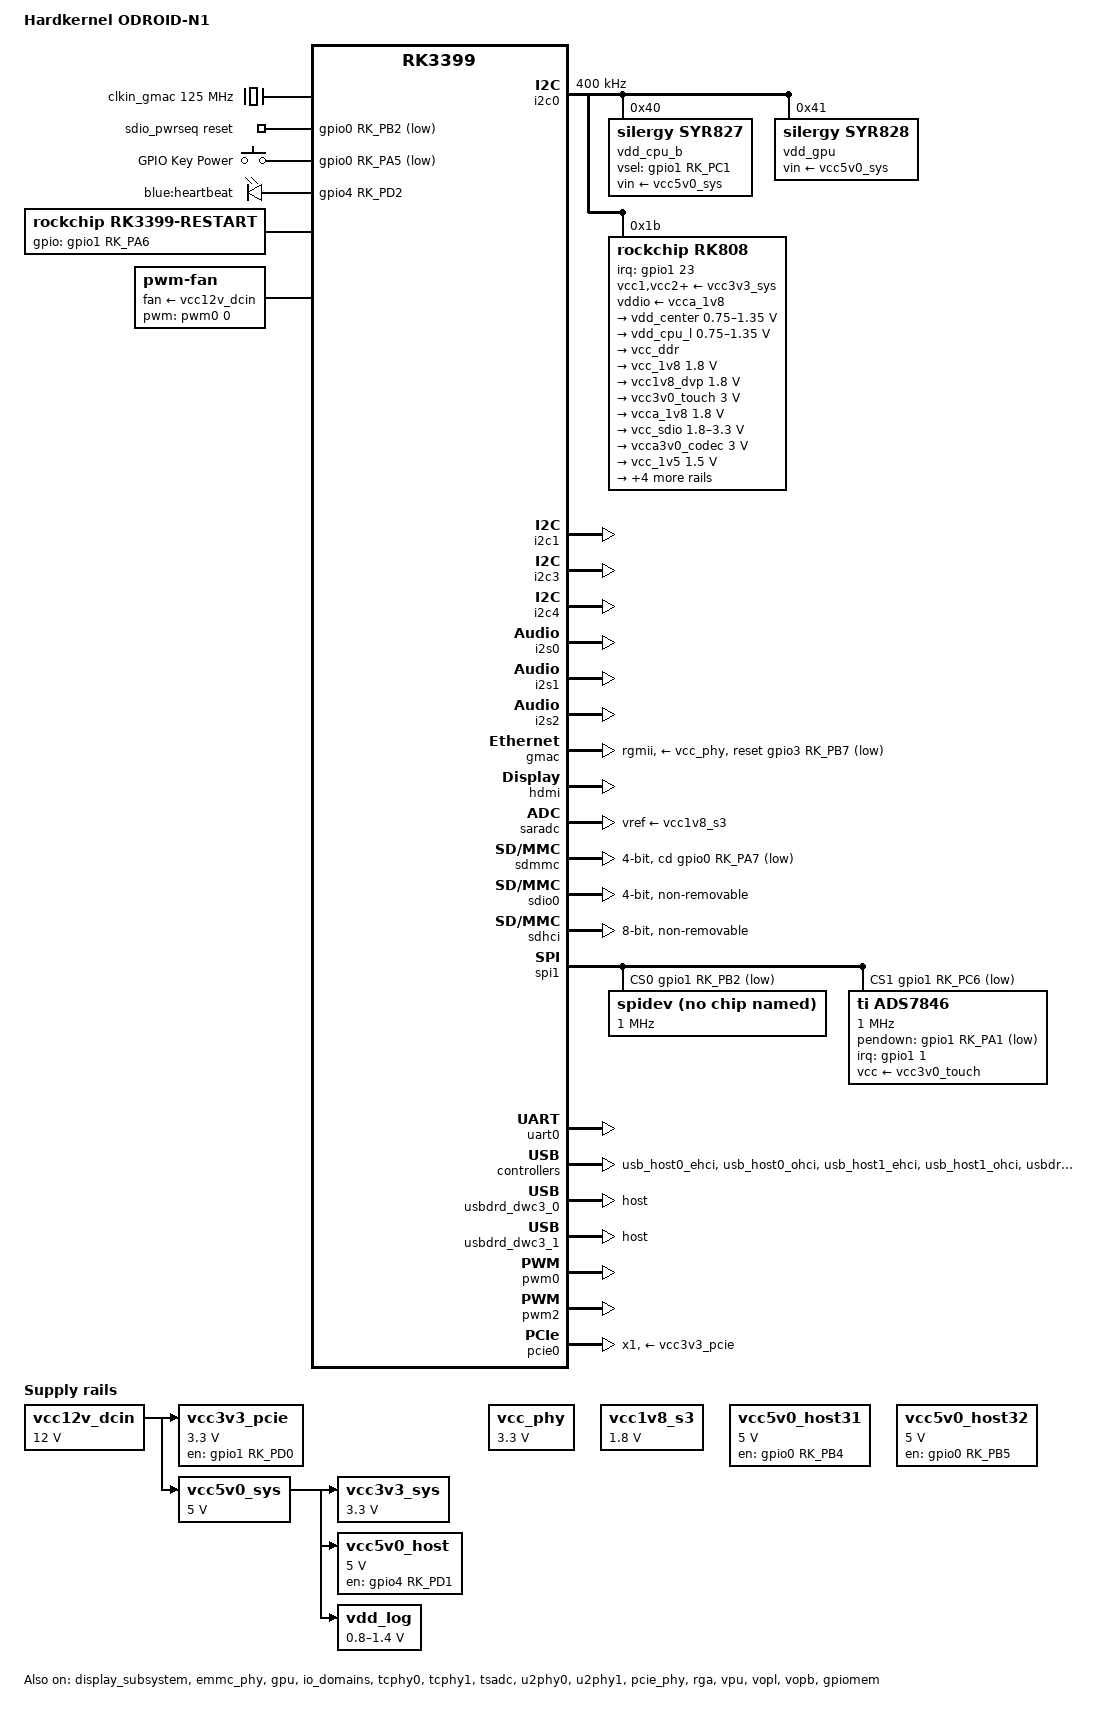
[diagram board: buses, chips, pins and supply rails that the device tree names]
/*
 * Copyright (c) 2017 Hardkernel Co., Ltd
 *
 * This file is dual-licensed: you can use it either under the terms
 * of the GPL or the X11 license, at your option. Note that this dual
 * licensing only applies to this file, and not this project as a
 * whole.
 *
 *  a) This file is free software; you can redistribute it and/or
 *     modify it under the terms of the GNU General Public License as
 *     published by the Free Software Foundation; either version 2 of the
 *     License, or (at your option) any later version.
 *
 *     This file is distributed in the hope that it will be useful,
 *     but WITHOUT ANY WARRANTY; without even the implied warranty of
 *     MERCHANTABILITY or FITNESS FOR A PARTICULAR PURPOSE.  See the
 *     GNU General Public License for more details.
 *
 * Or, alternatively,
 *
 *  b) Permission is hereby granted, free of charge, to any person
 *     obtaining a copy of this software and associated documentation
 *     files (the "Software"), to deal in the Software without
 *     restriction, including without limitation the rights to use,
 *     copy, modify, merge, publish, distribute, sublicense, and/or
 *     sell copies of the Software, and to permit persons to whom the
 *     Software is furnished to do so, subject to the following
 *     conditions:
 *
 *     The above copyright notice and this permission notice shall be
 *     included in all copies or substantial portions of the Software.
 *
 *     THE SOFTWARE IS PROVIDED "AS IS", WITHOUT WARRANTY OF ANY KIND,
 *     EXPRESS OR IMPLIED, INCLUDING BUT NOT LIMITED TO THE WARRANTIES
 *     OF MERCHANTABILITY, FITNESS FOR A PARTICULAR PURPOSE AND
 *     NONINFRINGEMENT. IN NO EVENT SHALL THE AUTHORS OR COPYRIGHT
 *     HOLDERS BE LIABLE FOR ANY CLAIM, DAMAGES OR OTHER LIABILITY,
 *     WHETHER IN AN ACTION OF CONTRACT, TORT OR OTHERWISE, ARISING
 *     FROM, OUT OF OR IN CONNECTION WITH THE SOFTWARE OR THE USE OR
 *     OTHER DEALINGS IN THE SOFTWARE.
 */

/dts-v1/;
#include <dt-bindings/input/linux-event-codes.h>
#include <dt-bindings/pwm/pwm.h>

#include "rk3399.dtsi"
#include "rk3399-opp.dtsi"

/ {
	model = "Hardkernel ODROID-N1";
	compatible = "hardkernel,odroidn1-linux", "rockchip,rk3399";

	chosen {
		// disable USB autosuspend as this solves USB stability issues
		bootargs = "earlycon=uart8250,mmio32,0xff1a0000 swiotlb=1 no_console_suspend=1 usbcore.autosuspend=-1 coherent_pool=1m";
		stdout-path = "serial2:1500000n8";
	};

	cpuinfo {
		compatible = "rockchip,cpuinfo";
		nvmem-cells = <&cpu_id>;
		nvmem-cell-names = "id";
	};

	reserved-memory {
		#address-cells = <2>;
		#size-cells = <2>;
		ranges;

		drm_logo: drm-logo@00000000 {
			compatible = "rockchip,drm-logo";
			reg = <0x0 0x0 0x0 0x0>;
		};
	};

	ion {
		compatible = "rockchip,ion";
		#address-cells = <1>;
		#size-cells = <0>;

		cma-heap {
			reg = <0x00000000 0x02000000>;
		};

		system-heap {
		};
	};

	aliases {
		ethernet0 = &gmac;
	};

	vcc12v_dcin: vcc12v-dcin {
		compatible = "regulator-fixed";
		regulator-name = "vcc12v_dcin";
		regulator-always-on;
		regulator-boot-on;
		regulator-min-microvolt = <12000000>;
		regulator-max-microvolt = <12000000>;
	};

	vcc3v3_pcie: vcc3v3-pcie-regulator {
		compatible = "regulator-fixed";
		regulator-min-microvolt = <3300000>;
		regulator-max-microvolt = <3300000>;
		enable-active-high;
		gpio = <&gpio1 RK_PD0 GPIO_ACTIVE_HIGH>;
		pinctrl-names = "default";
		pinctrl-0 = <&pcie_pwr_en>;
		regulator-name = "vcc3v3_pcie";
		vin-supply = <&vcc12v_dcin>;
	};

	vcc5v0_sys: vcc5v0-sys {
		compatible = "regulator-fixed";
		regulator-name = "vcc5v0_sys";
		regulator-min-microvolt = <5000000>;
		regulator-max-microvolt = <5000000>;
		regulator-always-on;
		regulator-boot-on;
		vin-supply = <&vcc12v_dcin>;
	};

	vcc_phy: vcc-phy-regulator {
		compatible = "regulator-fixed";
		regulator-name = "vcc_phy";
		regulator-min-microvolt = <3300000>;
		regulator-max-microvolt = <3300000>;
		regulator-always-on;
		regulator-boot-on;
	};

	vcc1v8_s3: vccadc-ref {
		compatible = "regulator-fixed";
		regulator-name = "vcc1v8_s3";
		regulator-always-on;
		regulator-boot-on;
		regulator-min-microvolt = <1800000>;
		regulator-max-microvolt = <1800000>;
	};

	vcc3v3_sys: vcc3v3-sys {
		compatible = "regulator-fixed";
		regulator-name = "vcc3v3_sys";
		regulator-min-microvolt = <3300000>;
		regulator-max-microvolt = <3300000>;
		regulator-always-on;
		regulator-boot-on;
		vin-supply = <&vcc5v0_sys>;
	};

	vcc5v0_host: vcc5v0-host-regulator {
		compatible = "regulator-fixed";
		enable-active-high;
		gpio = <&gpio4 RK_PD1 GPIO_ACTIVE_HIGH>;
		pinctrl-names = "default";
		pinctrl-0 = <&host_vbus_drv>;
		regulator-name = "vcc5v0_host";
		regulator-min-microvolt = <5000000>;
		regulator-max-microvolt = <5000000>;
		regulator-always-on;
		vin-supply = <&vcc5v0_sys>;
	};

	vcc5v0_host31: vcc5v0-host31-regulator {
		compatible = "regulator-fixed";
		enable-active-high;
		gpio = <&gpio0 RK_PB4 GPIO_ACTIVE_HIGH>;
		pinctrl-names = "default";
		pinctrl-0 = <&host31_vbus_drv>;
		regulator-name = "vcc5v0_host31";
		regulator-min-microvolt = <5000000>;
		regulator-max-microvolt = <5000000>;
	};

	vcc5v0_host32: vcc5v0-host32-regulator {
		compatible = "regulator-fixed";
		enable-active-high;
		gpio = <&gpio0 RK_PB5 GPIO_ACTIVE_HIGH>;
		pinctrl-names = "default";
		pinctrl-0 = <&host32_vbus_drv>;
		regulator-name = "vcc5v0_host32";
		regulator-min-microvolt = <5000000>;
		regulator-max-microvolt = <5000000>;
	};

	vdd_log: vdd-log {
		compatible = "pwm-regulator";
		pwms = <&pwm2 0 25000 1>;
		regulator-name = "vdd_log";
		regulator-min-microvolt = <800000>;
		regulator-max-microvolt = <1400000>;
		regulator-always-on;
		regulator-boot-on;

		/* for rockchip boot on */
		rockchip,pwm_id= <2>;
		rockchip,pwm_voltage = <900000>;

		pwm-supply = <&vcc5v0_sys>;
	};

	clkin_gmac: external-gmac-clock {
		compatible = "fixed-clock";
		clock-frequency = <125000000>;
		clock-output-names = "clkin_gmac";
		#clock-cells = <0>;
	};

	sdio_pwrseq: sdio-pwrseq {
		compatible = "mmc-pwrseq-simple";
		clocks = <&rk808 1>;
		clock-names = "ext_clock";
		pinctrl-names = "default";
		pinctrl-0 = <&wifi_enable_h>;

		/*
		 * On the module itself this is one of these (depending
		 * on the actual card populated):
		 * - SDIO_RESET_L_WL_REG_ON
		 * - PDN (power down when low)
		 */
		reset-gpios = <&gpio0 RK_PB2 GPIO_ACTIVE_LOW>;
	};

	gpio-keys {
		compatible = "gpio-keys";
		#address-cells = <1>;
		#size-cells = <0>;
		autorepeat;

		pinctrl-names = "default";
		pinctrl-0 = <&pwrbtn>;

		button@0 {
			gpios = <&gpio0 RK_PA5 GPIO_ACTIVE_LOW>;
			linux,code = <KEY_POWER>;
			label = "GPIO Key Power";
			linux,input-type = <1>;
			gpio-key,wakeup = <1>;
			debounce-interval = <100>;
		};
	};

	leds: gpio_leds {
		compatible = "gpio-leds";
		pinctrl-names = "default";
		pinctrl-0 = <&heartbeat_led_gpio>;

                heartbeat-led {
                        label = "blue:heartbeat";
                        gpios = <&gpio4 RK_PD2 GPIO_ACTIVE_HIGH>;
                        linux,default-trigger = "heartbeat";
                };
	};

	rk3399-restart {
		compatible = "rockchip,rk3399-restart";
		gpios = <&gpio1 RK_PA6 GPIO_ACTIVE_HIGH>;
		open-source;
	};

	fan: pwm-fan {
		compatible = "pwm-fan";
		status = "okay";
		fan-supply = <&vcc12v_dcin>;
		pwms = <&pwm0 0 40000 0>; /* 25 kHz */
		cooling-min-state = <0>;
		cooling-max-state = <3>;
		#cooling-cells = <2>;
		cooling-levels = <0 150 195 240>;
	};

	dw_hdmi_audio: dw-hdmi-audio {
		status = "disabled";
		compatible = "rockchip,dw-hdmi-audio";
		#sound-dai-cells = <0>;
	};

	hdmi_codec: hdmi-codec {
		compatible = "simple-audio-card";
		simple-audio-card,format = "i2s";
		simple-audio-card,mclk-fs = <256>;
		simple-audio-card,name = "HDMI-CODEC";

		simple-audio-card,cpu {
			sound-dai = <&i2s2>;
		};

		simple-audio-card,codec {
			sound-dai = <&hdmi>;
		};
	};

	hdmi_sound: hdmi-sound {
		status = "disabled";
		compatible = "simple-audio-card";
		simple-audio-card,format = "i2s";
		simple-audio-card,mclk-fs = <256>;
		simple-audio-card,name = "rockchip,hdmi";

		simple-audio-card,cpu {
			sound-dai = <&i2s2>;
		};
		simple-audio-card,codec {
			sound-dai = <&dw_hdmi_audio>;
		};
	};

	fiq_debugger: fiq-debugger {
		compatible = "rockchip,fiq-debugger";
		rockchip,serial-id = <2>;
		rockchip,signal-irq = <182>;
		rockchip,wake-irq = <0>;
		rockchip,irq-mode-enable = <1>;  /* If enable uart uses irq instead of fiq */
		rockchip,baudrate = <115200>;  /* Only 115200 and 1500000 */
		pinctrl-names = "default";
		pinctrl-0 = <&uart2c_xfer>;
	};

	gpiomem {
		compatible = "rockchip,rock-gpiomem";

		/* gpio mmap area define */
			/* GPIO0 64K    : 0xff720000 - 0xff72ffff */
			/* GPIO1 64K    : 0xff730000 - 0xff73ffff */
			/* Reserved 64K : 0xff740000 - 0xff74ffff */
			/* PMUCRU 64K   : 0xff750000 - 0xff75ffff */
			/* CRU 64K      : 0xff760000 - 0xff76ffff */
			/* GRF 64K      : 0xff770000 - 0xff77ffff */
			/* GPIO2 32K    : 0xff780000 - 0xff777fff */
			/* GPIO3 32K    : 0xff788000 - 0xff78ffff */
			/* GPIO4 32K    : 0xff790000 - 0xff797fff */
		reg = 	<0 0xff720000 0 0x78000>,

			/* PMUGRF 64K   : 0xff320000 - 0xff32ffff */
			<0 0xff320000 0 0x10000>;
		status = "okay";
	};

	odroid_sysfs: odroid-sysfs {
		status = "okay";
		compatible = "odroid-sysfs";
	};

};

&thermal_zones {
    /delete-node/ cpu;

    soc_thermal: soc-thermal {
	polling-delay-passive = <20>; /* milliseconds */
	polling-delay = <1000>; /* milliseconds */
	sustainable-power = <1000>; /* milliwatts */

	thermal-sensors = <&tsadc 0>;

	trips {
		/* fan active thermal point */
		cpu_alert0: trip-point-0 {
			temperature = <55000>; /* millicelsius */
			hysteresis = <2000>; /* millicelsius */
			type = "active";
		};
		cpu_alert1: trip-point-1 {
			temperature = <65000>; /* millicelsius */
			hysteresis = <2000>; /* millicelsius */
			type = "active";
		};
		cpu_alert2: trip-point-2 {
			temperature = <75000>; /* millicelsius */
			hysteresis = <2000>; /* millicelsius */
			type = "active";
		};

		/* big cluster thermal point */
		cpu_alert3: trip-point-3 {
			temperature = <80000>; /* millicelsius */
			hysteresis = <2000>; /* millicelsius */
			type = "passive";
		};
		cpu_alert4: trip-point-4 {
			temperature = <82000>; /* millicelsius */
			hysteresis = <2000>; /* millicelsius */
			type = "passive";
		};
		cpu_alert5: trip-point-5 {
			temperature = <85000>; /* millicelsius */
			hysteresis = <2000>; /* millicelsius */
			type = "passive";
		};
		cpu_alert6: trip-point-6 {
			temperature = <88000>; /* millicelsius */
			hysteresis = <2000>; /* millicelsius */
			type = "passive";
		};

		/* little cluster thermal point */
		cpu_alert7: trip-point-7 {
			temperature = <90000>; /* millicelsius */
			hysteresis = <2000>; /* millicelsius */
			type = "passive";
		};
		cpu_alert8: trip-point-8 {
			temperature = <92000>; /* millicelsius */
			hysteresis = <2000>; /* millicelsius */
			type = "passive";
		};
		cpu_alert9: trip-point-9 {
			temperature = <95000>; /* millicelsius */
			hysteresis = <2000>; /* millicelsius */
			type = "passive";
		};
		soc_crit: soc-crit {
			temperature = <120000>; /* millicelsius */
			hysteresis = <2000>; /* millicelsius */
			type = "critical";
		};
	};

	cooling-maps {
		/* fan cooling map */
		map0 {
			trip = <&cpu_alert0>;
			cooling-device =
				<&fan 0 1>;
		};
		map1 {
			trip = <&cpu_alert1>;
			cooling-device =
				<&fan 1 2>;
		};
		map2 {
			trip = <&cpu_alert2>;
			cooling-device =
				<&fan 2 3>;
		};

		/* cpu cooling map */
		/* big cluster */
		map3 {
			trip = <&cpu_alert3>;
			cooling-device =
				<&cpu_b0 0 2>;
			contribution = <4096>;
		};
		map4 {
			trip = <&cpu_alert4>;
			cooling-device =
				<&cpu_b0 2 4>;
			contribution = <4096>;
		};
		map5 {
			trip = <&cpu_alert5>;
			cooling-device =
				<&cpu_b0 4 7>;
			contribution = <4096>;
		};
		map6 {
			trip = <&cpu_alert6>;
			cooling-device =
				<&cpu_b0 4 7>;
			contribution = <4096>;
		};

		/* little cluster */
		map7 {
			trip = <&cpu_alert7>;
			cooling-device =
				<&cpu_l0 0 2>;
			contribution = <1024>;
		};
		map8 {
			trip = <&cpu_alert8>;
			cooling-device =
				<&cpu_l0 2 5>;
			contribution = <1024>;
		};

		map9 {
			trip = <&cpu_alert9>;
			cooling-device =
				<&gpu THERMAL_NO_LIMIT THERMAL_NO_LIMIT>;
			contribution = <1024>;
		};
	};
    };
};

&cpu_l0 {
	cpu-supply = <&vdd_cpu_l>;
};

&cpu_l1 {
	cpu-supply = <&vdd_cpu_l>;
};

&cpu_l2 {
	cpu-supply = <&vdd_cpu_l>;
};

&cpu_l3 {
	cpu-supply = <&vdd_cpu_l>;
};

&cpu_b0 {
	cpu-supply = <&vdd_cpu_b>;
};

&cpu_b1 {
	cpu-supply = <&vdd_cpu_b>;
};

&display_subsystem {
	status = "okay";

	ports = <&vopb_out>;
	logo-memory-region = <&drm_logo>;

	route {
		route_hdmi: route-hdmi {
			status = "disabled";
			logo,uboot = "logo.bmp";
			logo,kernel = "logo_kernel.bmp";
			logo,mode = "center";
			charge_logo,mode = "center";
			connect = <&vopb_out_hdmi>;
		};

		route_dsi: route-dsi {
			status = "disabled";
			logo,uboot = "logo.bmp";
			logo,kernel = "logo_kernel.bmp";
			logo,mode = "center";
			charge_logo,mode = "center";
			connect = <&vopl_out_mipi>;
		};

		route_edp: route-edp {
			status = "disabled";
			logo,uboot = "logo.bmp";
			logo,kernel = "logo_kernel.bmp";
			logo,mode = "center";
			charge_logo,mode = "center";
			connect = <&vopl_out_edp>;
		};
	};
};

&dp_in_vopl {
       status = "disabled";
};

&emmc_phy {
	status = "okay";
};

&iep_mmu {
	status = "okay";
};

&i2c0 {
	status = "okay";
	i2c-scl-rising-time-ns = <168>;
	i2c-scl-falling-time-ns = <4>;
	clock-frequency = <400000>;

	vdd_cpu_b: syr827@40 {
		compatible = "silergy,syr827";
		reg = <0x40>;
		regulator-compatible = "fan53555-reg";
		vsel-gpios = <&gpio1 RK_PC1 GPIO_ACTIVE_HIGH>;
		regulator-name = "vdd_cpu_b";
		regulator-min-microvolt = <712500>;
		regulator-max-microvolt = <1500000>;
		regulator-ramp-delay = <40000>;
		fcs,suspend-voltage-selector = <1>;
		regulator-always-on;
		regulator-boot-on;
		regulator-initial-state = <3>;
		vin-supply = <&vcc5v0_sys>;
		regulator-state-mem {
			regulator-off-in-suspend;
		};
	};

	vdd_gpu: syr828@41 {
		compatible = "silergy,syr828";
		reg = <0x41>;
		regulator-compatible = "fan53555-reg";
		regulator-name = "vdd_gpu";
		regulator-min-microvolt = <712500>;
		regulator-max-microvolt = <1500000>;
		regulator-ramp-delay = <1000>;
		fcs,suspend-voltage-selector = <1>;
		regulator-always-on;
		regulator-boot-on;
		regulator-initial-state = <3>;
		vin-supply = <&vcc5v0_sys>;
		regulator-state-mem {
			regulator-off-in-suspend;
		};
	};

	rk808: pmic@1b {
		compatible = "rockchip,rk808";
		reg = <0x1b>;
		interrupt-parent = <&gpio1>;
		interrupts = <23 IRQ_TYPE_LEVEL_LOW>;
		pinctrl-names = "default";
		pinctrl-0 = <&pmic_int_l &pmic_dvs2>;
		rockchip,system-power-controller;
		wakeup-source;
		#clock-cells = <1>;
		clock-output-names = "xin32k", "rk808-clkout2";

		vcc1-supply = <&vcc3v3_sys>;
		vcc2-supply = <&vcc3v3_sys>;
		vcc3-supply = <&vcc3v3_sys>;
		vcc4-supply = <&vcc3v3_sys>;
		vcc6-supply = <&vcc3v3_sys>;
		vcc7-supply = <&vcc3v3_sys>;
		vcc8-supply = <&vcc3v3_sys>;
		vcc9-supply = <&vcc3v3_sys>;
		vcc10-supply = <&vcc3v3_sys>;
		vcc11-supply = <&vcc3v3_sys>;
		vcc12-supply = <&vcc3v3_sys>;
		vddio-supply = <&vcca_1v8>;

		rtc {
			status = "okay";
		};

		regulators {
			vdd_center: DCDC_REG1 {
				regulator-name = "vdd_center";
				regulator-min-microvolt = <750000>;
				regulator-max-microvolt = <1350000>;
				regulator-ramp-delay = <6001>;
				regulator-always-on;
				regulator-boot-on;
				regulator-state-mem {
					regulator-off-in-suspend;
				};
			};

			vdd_cpu_l: DCDC_REG2 {
				regulator-name = "vdd_cpu_l";
				regulator-min-microvolt = <750000>;
				regulator-max-microvolt = <1350000>;
				regulator-ramp-delay = <6001>;
				regulator-always-on;
				regulator-boot-on;
				regulator-state-mem {
					regulator-off-in-suspend;
				};
			};

			vcc_ddr: DCDC_REG3 {
				regulator-name = "vcc_ddr";
				regulator-always-on;
				regulator-boot-on;
				regulator-state-mem {
					regulator-on-in-suspend;
				};
			};

			vcc_1v8: DCDC_REG4 {
				regulator-name = "vcc_1v8";
				regulator-min-microvolt = <1800000>;
				regulator-max-microvolt = <1800000>;
				regulator-always-on;
				regulator-boot-on;
				regulator-state-mem {
					regulator-on-in-suspend;
					regulator-suspend-microvolt = <1800000>;
				};
			};

			vcc1v8_dvp: LDO_REG1 {
				regulator-name = "vcc1v8_dvp";
				regulator-min-microvolt = <1800000>;
				regulator-max-microvolt = <1800000>;
				regulator-always-on;
				regulator-boot-on;
				regulator-state-mem {
					regulator-off-in-suspend;
				};
			};

			vcc3v0_touch: LDO_REG2 {
				regulator-name = "vcc3v0_touch";
				regulator-min-microvolt = <3000000>;
				regulator-max-microvolt = <3000000>;
				regulator-always-on;
				regulator-boot-on;
				regulator-state-mem {
					regulator-off-in-suspend;
				};
			};

			vcca_1v8: LDO_REG3 {
				regulator-name = "vcca_1v8";
				regulator-min-microvolt = <1800000>;
				regulator-max-microvolt = <1800000>;
				regulator-always-on;
				regulator-boot-on;
				regulator-state-mem {
					regulator-on-in-suspend;
					regulator-suspend-microvolt = <1800000>;
				};
			};

			vcc_sdio: LDO_REG4 {
				regulator-name = "vcc_sdio";
				regulator-min-microvolt = <1800000>;
				regulator-max-microvolt = <3300000>;
				regulator-always-on;
				regulator-boot-on;
				regulator-state-mem {
					regulator-on-in-suspend;
					regulator-suspend-microvolt = <3300000>;
				};
			};

			vcca3v0_codec: LDO_REG5 {
				regulator-name = "vcca3v0_codec";
				regulator-min-microvolt = <3000000>;
				regulator-max-microvolt = <3000000>;
				regulator-always-on;
				regulator-boot-on;
				regulator-state-mem {
					regulator-off-in-suspend;
				};
			};

			vcc_1v5: LDO_REG6 {
				regulator-name = "vcc_1v5";
				regulator-min-microvolt = <1500000>;
				regulator-max-microvolt = <1500000>;
				regulator-always-on;
				regulator-boot-on;
				regulator-state-mem {
					regulator-on-in-suspend;
					regulator-suspend-microvolt = <1500000>;
				};
			};

			vcca1v8_codec: LDO_REG7 {
				regulator-name = "vcca1v8_codec";
				regulator-min-microvolt = <1800000>;
				regulator-max-microvolt = <1800000>;
				regulator-always-on;
				regulator-boot-on;
				regulator-state-mem {
					regulator-off-in-suspend;
				};
			};

			vcc_3v0: LDO_REG8 {
				regulator-name = "vcc_3v0";
				regulator-min-microvolt = <3000000>;
				regulator-max-microvolt = <3000000>;
				regulator-always-on;
				regulator-boot-on;
				regulator-state-mem {
					regulator-on-in-suspend;
					regulator-suspend-microvolt = <3000000>;
				};
			};

			vcc3v3_s3: SWITCH_REG1 {
				regulator-name = "vcc3v3_s3";
				regulator-always-on;
				regulator-boot-on;
				regulator-state-mem {
					regulator-off-in-suspend;
				};
			};

			vcc3v3_s0: SWITCH_REG2 {
				regulator-name = "vcc3v3_s0";
				regulator-always-on;
				regulator-boot-on;
				regulator-state-mem {
					regulator-off-in-suspend;
				};
			};
		};
	};
};

&i2c1 {
	status = "okay";
	i2c-scl-rising-time-ns = <300>;
	i2c-scl-falling-time-ns = <15>;
};

&i2c3 {
	i2c-scl-rising-time-ns = <450>;
	i2c-scl-falling-time-ns = <15>;
	status = "okay";
};

&i2c4 {
	status = "okay";
	i2c-scl-rising-time-ns = <600>;
	i2c-scl-falling-time-ns = <20>;
};

&i2s0 {
	status = "okay";
	rockchip,i2s-broken-burst-len;
	rockchip,playback-channels = <8>;
	rockchip,capture-channels = <8>;
	#sound-dai-cells = <0>;
};

&i2s1 {
	status = "okay";
	rockchip,i2s-broken-burst-len;
	rockchip,playback-channels = <2>;
	rockchip,capture-channels = <2>;
	#sound-dai-cells = <0>;
};

&i2s2 {
	#sound-dai-cells = <0>;
	status = "okay";
};

&gmac {
	phy-supply = <&vcc_phy>;
	phy-mode = "rgmii";
	clock_in_out = "input";
	snps,reset-gpio = <&gpio3 RK_PB7 GPIO_ACTIVE_LOW>;
	snps,reset-active-low;
	snps,reset-delays-us = <0 10000 50000>;
	assigned-clocks = <&cru SCLK_RMII_SRC>;
	assigned-clock-parents = <&clkin_gmac>;
	pinctrl-names = "default";
	pinctrl-0 = <&rgmii_pins>;
	tx_delay = <0x28>;
	rx_delay = <0x11>;
	hardkernel,mac-rule;
	status = "okay";
};

&gpu {
	status = "okay";
	mali-supply = <&vdd_gpu>;
	compatible = "arm,mali-midgard";
	interrupt-names = "GPU", "JOB", "MMU";
	clock-names = "clk_mali";
	power-off-delay-ms = <200>;
};

&gpu_power_model {
	// for DDK r14.
	voltage = <900>;
	frequency = <500>;
	static-power = <300>;
	dynamic-power = <396>;
};

&hdmi {
	#address-cells = <1>;
	#size-cells = <0>;
	#sound-dai-cells = <0>;
	status = "okay";
	rockchip,phy-table =
		<74250000 0x8009 0x0004 0x0272>,
		<165000000 0x802b 0x0004 0x0209>,
		<297000000 0x8039 0x0005 0x028d>,
		<594000000 0x8039 0x0000 0x019d>,
		<000000000 0x0000 0x0000 0x0000>;

	ddc-i2c-bus = <&i2c3>;
	pinctrl-names = "default";
	pinctrl-0 = <&hdmi_cec>;
};

&io_domains {
	status = "okay";

	bt656-supply = <&vcc1v8_dvp>;		/* bt656_gpio2ab_ms */
	audio-supply = <&vcca1v8_codec>;	/* audio_gpio3d4a_ms */
	sdmmc-supply = <&vcc_sdio>;		/* sdmmc_gpio4b_ms */
	gpio1830-supply = <&vcc_3v0>;		/* gpio1833_gpio4cd_ms */
};

&saradc {
	status = "okay";
	vref-supply = <&vcc1v8_s3>;
};

&sdmmc {
	max-frequency = <150000000>;
	supports-sd;
	bus-width = <4>;
	supports-highspeed;
	cap-sd-highspeed;
	cd-gpios = <&gpio0 RK_PA7 GPIO_ACTIVE_LOW>;
	mmc-ddr-1_8v;
	sd-uhs-sdr104;
	disable-wp;
	num-slots = <1>;
	vqmmc-supply = <&vcc_sdio>;
	pinctrl-names = "default";
	pinctrl-0 = <&sdmmc_clk &sdmmc_cmd &sdmmc_bus4>;
	status = "okay";
};

&sdio0 {
	clock-frequency = <50000000>;
	clock-freq-min-max = <200000 50000000>;
	supports-sdio;
	bus-width = <4>;
	disable-wp;
	cap-sd-highspeed;
	cap-sdio-irq;
	keep-power-in-suspend;
	mmc-pwrseq = <&sdio_pwrseq>;
	non-removable;
	num-slots = <1>;
	pinctrl-names = "default";
	pinctrl-0 = <&sdio0_bus4 &sdio0_cmd &sdio0_clk>;
	sd-uhs-sdr104;
	status = "okay";
	defer_pcie = <2000>;
};

&sdhci {
	bus-width = <8>;
	keep-power-in-suspend;
	mmc-hs400-1_8v;
	mmc-hs400-enhanced-strobe;
	non-removable;
	status = "okay";
	supports-emmc;
};

&spi1 {
	status = "okay";

	// It is not recommended that the normal communication byte
	// be less than 32 bytes when DMA mode is enabled.

	// dmas = <&dmac_peri 12>, <&dmac_peri 13>;
	// dma-names = "tx", "rx";

	cs-gpios = <&gpio1 RK_PB2 GPIO_ACTIVE_LOW>, <&gpio1 RK_PC6 GPIO_ACTIVE_LOW>;
	max-freq = <48000000>;

	spidev: spidev@0 {
		reg = <0>;
		compatible = "linux,spidev";
		spi-max-frequency = <1000000>;
	};

	ads7846: ads7846@1 {
		reg = <1>;
		compatible = "ti,ads7846";
		interrupt-parent = <&gpio1>;
		interrupts = <1 IRQ_TYPE_LEVEL_LOW>;
		spi-max-frequency = <1000000>;
		pendown-gpio = <&gpio1 RK_PA1 GPIO_ACTIVE_LOW>;
		vcc-supply = <&vcc3v0_touch>;
		ti,swap-xy = <1>;
		ti,x-min = /bits/ 16 <0>;
		ti,x-max = /bits/ 16 <8000>;
		ti,y-min = /bits/ 16 <0>;
		ti,y-max = /bits/ 16 <4800>;
		ti,x-plate-ohms = /bits/ 16 <40>;
		ti,pressure-max = /bits/ 16 <255>;

		linux,wakeup;
	};
};

&tcphy0 {
	status = "okay";
};

&tcphy1 {
	status = "okay";
};

&tsadc {
	/* tshut mode 0:CRU 1:GPIO */
	rockchip,hw-tshut-mode = <1>;
	/* tshut polarity 0:LOW 1:HIGH */
	rockchip,hw-tshut-polarity = <1>;
	rockchip,hw-tshut-temp = <110000>;
	status = "okay";
};

&u2phy0 {
	status = "okay";

	u2phy0_otg: otg-port {
		phy-supply = <&vcc5v0_host31>;
		status = "okay";
	};

	u2phy0_host: host-port {
		phy-supply = <&vcc5v0_host>;
		status = "okay";
	};
};

&u2phy1 {
	status = "okay";

	u2phy1_otg: otg-port {
		phy-supply = <&vcc5v0_host32>;
		status = "okay";
	};

	u2phy1_host: host-port {
		phy-supply = <&vcc5v0_host>;
		status = "okay";
	};
};

&uart0 {
	status = "okay";
	dmas = <&dmac_peri 0>, <&dmac_peri 1>;
	dma-names = "tx", "rx";
};

&usb_host0_ehci {
	status = "okay";
};

&usb_host0_ohci {
	status = "okay";
};

&usb_host1_ehci {
	status = "okay";
};

&usb_host1_ohci {
	status = "okay";
};

&usbdrd3_0 {
	status = "okay";
};

&usbdrd_dwc3_0 {
	status = "okay";
	dr_mode = "host";
};

&usbdrd3_1 {
	status = "okay";
};

&usbdrd_dwc3_1 {
	status = "okay";
	dr_mode = "host";
};

&pwm0 {
	status = "okay";
};

&pwm2 {
	status = "okay";
};

&pinctrl {
	buttons {
		pwrbtn: pwrbtn {
			rockchip,pins = <0 RK_PA5 RK_FUNC_GPIO &pcfg_pull_up>;
		};
	};

	pcie {
		pcie_pwr_en: pcie-pwr-en {
			rockchip,pins =
				<1 RK_PD0 RK_FUNC_GPIO &pcfg_pull_none>;
		};
	};

	pmic {
		vsel1_gpio: vsel1-gpio {
			rockchip,pins =
				<1 RK_PC1 RK_FUNC_GPIO &pcfg_pull_down>;
		};

		vsel2_gpio: vsel2-gpio {
			rockchip,pins =
			<1 RK_PB6 RK_FUNC_GPIO &pcfg_pull_down>;
		};

		pmic_int_l: pmic-int-l {
			rockchip,pins =
				<1 RK_PC7 RK_FUNC_GPIO &pcfg_pull_up>;
		};

		pmic_dvs2: pmic-dvs2 {
			rockchip,pins =
				<1 RK_PC2 RK_FUNC_GPIO &pcfg_pull_down>;
		};
	};

	sdio-pwrseq {
		wifi_enable_h: wifi-enable-h {
			rockchip,pins =
				<0 RK_PB2 RK_FUNC_GPIO &pcfg_pull_none>;
		};
	};

	usb2 {
		host_vbus_drv: host-vbus-drv {
			rockchip,pins =
				<4 RK_PD1 RK_FUNC_GPIO &pcfg_pull_none>;
		};

		host31_vbus_drv: host31-vbus-drv {
			rockchip,pins =
				<0 RK_PB4 RK_FUNC_GPIO &pcfg_pull_none>;
		};

		host32_vbus_drv: host32-vbus-drv {
			rockchip,pins =
				<0 RK_PB5 RK_FUNC_GPIO &pcfg_pull_none>;
		};
	};

	leds {
		heartbeat_led_gpio: heartbeat_led-gpio {
			rockchip,pins = <4 RK_PD2 RK_FUNC_GPIO &pcfg_pull_none>;
		};
	};
};

&pmu_io_domains {
	status = "okay";
	pmu1830-supply = <&vcc_3v0>;
};

&pcie_phy {
	status = "okay";
};

&pcie0 {
	assigned-clocks = <&cru SCLK_PCIEPHY_REF>;
	assigned-clock-parents = <&cru SCLK_PCIEPHY_REF100M>;
	assigned-clock-rates = <100000000>;
	ep-gpios = <&gpio2 RK_PC2 GPIO_ACTIVE_HIGH>;
	num-lanes = <1>;
	max-link-speed = <2>;
	pinctrl-names = "default";
	pinctrl-0 = <&pcie_clkreqn_cpm>;
	vpcie3v3-supply = <&vcc3v3_pcie>;
	bus-scan-delay-ms = <1000>;
	status = "okay";
};

&rga {
	status = "okay";
};

&vdec_mmu {
	status = "okay";
};

&vpu_mmu {
	status = "okay";
};

&vpu {
	status = "okay";
};

&vopl {
	rockchip,grf = <&grf>;
	status = "okay";
	assigned-clocks = <&cru DCLK_VOP1_DIV>;
	assigned-clock-parents = <&cru PLL_VPLL>;
};

&vopl_mmu {
	status = "okay";
};

&vopb {
	rockchip,grf = <&grf>;
	status = "okay";
	assigned-clocks = <&cru DCLK_VOP0_DIV>;
	assigned-clock-parents = <&cru PLL_CPLL>;
};

&vopb_mmu {
	status = "okay";
};

&cdn_dp {
	status = "disabled";
};

&dp_in_vopb {
	status = "disabled";
};

&edp_in_vopb {
	status = "disabled";
};

&hdmi_in_vopl {
	status = "disabled";
};
